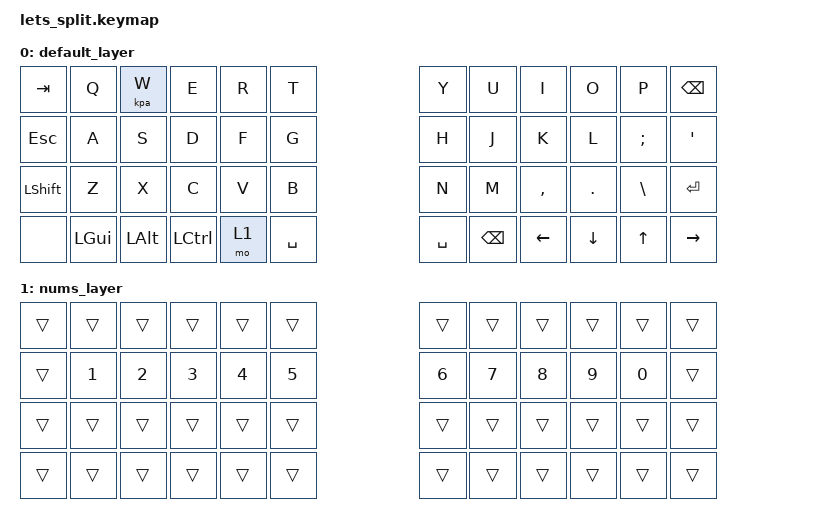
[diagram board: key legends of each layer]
/*
 * Copyright (c) 2020 The ZMK Contributors
 *
 * SPDX-License-Identifier: MIT
 */

#include <behaviors.dtsi>
#include <dt-bindings/zmk/keys.h>

/ {
       keymap {
              compatible = "zmk,keymap";
              default_layer {
                     // |  TAB  |  Q   |  W   |  E   |  R   |  T   |                | Y   |  U    |  I   |  O   |   P   | BSPC  |
                     // |  ESC  |  A   |  S   |  D   |  F   |  G   |                | H   |  J    |  K   |  L   |   ;   |  '    |
                     // | SHIFT |  Z   |  X   |  C   |  V   |  B   |                | N   |  M    |  ,   |  .   |   /   |  RET  |
                     // | none  | LGUI | LALT | LCTL | NUMS | SPACE|                |SPACE| BSPC | LEFT | DOWN  |  UP   | RIGHT |

                     bindings = <
                     &kp TAB   &kp Q    &kpa W    &kp E     &kp R &kp T              &kp Y     &kp U    &kp I     &kp O    &kp P    &kp BSPC
                     &kp ESC   &kp A    &kp S    &kp D     &kp F &kp G              &kp H     &kp J    &kp K     &kp L    &kp SEMI &kp SQT
                     &kp LSHFT &kp Z    &kp X    &kp C     &kp V &kp B              &kp N     &kp M    &kp COMMA &kp DOT  &kp BSLH &kp RET
                     &none     &kp LGUI &kp LALT &kp LCTRL &mo 1 &kp SPACE          &kp SPACE &kp BSPC &kp LEFT  &kp DOWN &kp UP   &kp RIGHT
                     >;
              };
              nums_layer {
                     // |      |      |      |      |      |      |                  |      |      |      |      |      |      |
                     // |      |  1   |  2   |  3   |  4   |  5   |                  |  6   |  7   |  8   |  9   |  0   |      |
                     // |      |      |      |      |      |      |                  |      |      |      |      |      |      |
                     // |      |      |      |      |      |      |                  |      |      |      |      |      |      |
                     // |      |      |      |      |      |      |                  |      |      |      |      |      |      |

                     bindings = <
                     &trans &trans &trans &trans &trans &trans              &trans &trans &trans &trans &trans &trans
                     &trans &kp N1 &kp N2 &kp N3 &kp N4 &kp N5              &kp N6 &kp N7 &kp N8 &kp N9 &kp N0 &trans
                     &trans &trans &trans &trans &trans &trans              &trans &trans &trans &trans &trans &trans
                     &trans &trans &trans &trans &trans &trans              &trans &trans &trans &trans &trans &trans
                     >;
              };

       };
};
